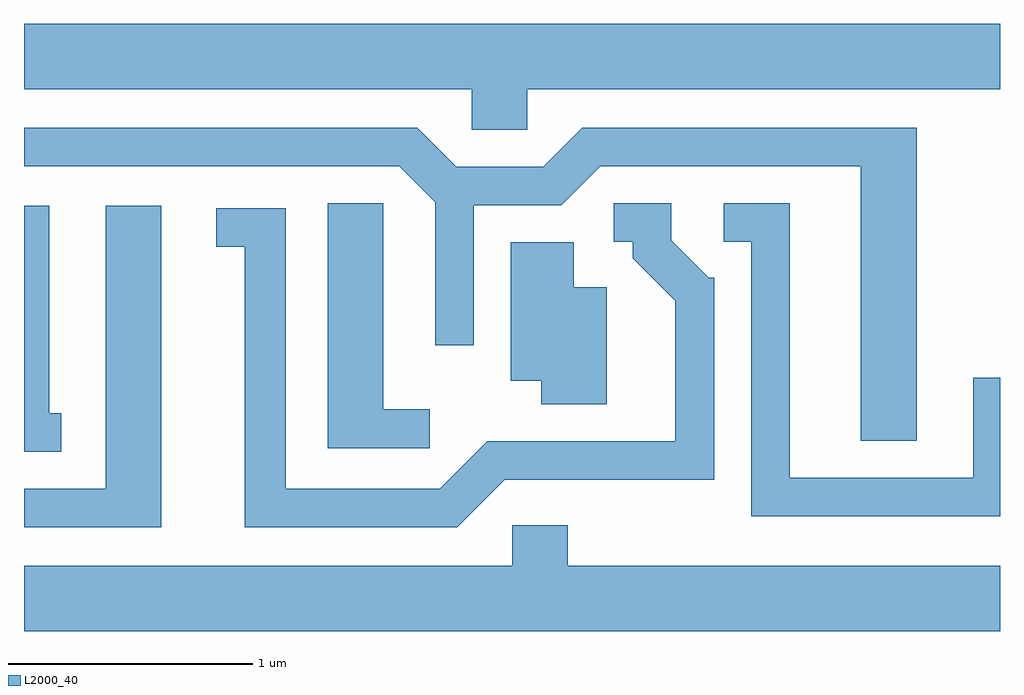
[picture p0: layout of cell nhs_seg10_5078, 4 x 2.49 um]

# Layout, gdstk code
import gdstk
lib = gdstk.Library(unit=1e-6, precision=1e-09)
def P(c, l, *ps):  # polygons
    for p in ps: c.add(gdstk.Polygon(p, *l))
L2000_40 = (2000, 40)

nhs_seg10_5078 = lib.new_cell('nhs_seg10_5078')
P(nhs_seg10_5078, L2000_40, [(337.674,2085.056),(339.611,2085.056),(339.611,2085.324),(335.611,2085.324),(335.611,2085.056),(337.446,2085.056),(337.446,2084.891),(337.674,2084.891)],
  [(339.269,2084.899),(337.899,2084.899),(337.739,2084.739),(337.382,2084.739),(337.222,2084.899),(335.611,2084.899),(335.611,2084.741),(337.149,2084.741),(337.296,2084.594),(337.296,2084.008),(337.454,2084.008),(337.454,2084.581),(337.812,2084.581),(337.972,2084.741),(339.041,2084.741),(339.041,2083.616),(339.269,2083.616)],
  [(339.611,2083.874),(339.501,2083.874),(339.501,2083.464),(338.749,2083.464),(338.749,2084.589),(338.478,2084.589),(338.478,2084.431),(338.591,2084.431),(338.591,2083.306),(339.611,2083.306)],
  [(337.582,2083.456),(338.439,2083.456),(338.439,2084.284),(338.417,2084.284),(338.264,2084.437),(338.264,2084.589),(338.028,2084.589),(338.028,2084.431),(338.106,2084.431),(338.106,2084.364),(338.281,2084.189),(338.281,2083.614),(337.509,2083.614),(337.314,2083.419),(336.684,2083.419),(336.684,2084.569),(336.398,2084.569),(336.398,2084.411),(336.516,2084.411),(336.516,2083.261),(337.387,2083.261)],
  [(337.273,2083.744),(337.084,2083.744),(337.084,2084.589),(336.856,2084.589),(336.856,2083.586),(337.273,2083.586)],
  [(335.763,2083.729),(335.714,2083.729),(335.714,2084.579),(335.611,2084.579),(335.611,2083.571),(335.763,2083.571)],
  [(336.174,2084.579),(335.946,2084.579),(335.946,2083.419),(335.611,2083.419),(335.611,2083.261),(336.174,2083.261)],
  [(337.999,2084.244),(337.864,2084.244),(337.864,2084.429),(337.606,2084.429),(337.606,2083.861),(337.731,2083.861),(337.731,2083.766),(337.999,2083.766)],
  [(339.611,2083.104),(337.839,2083.104),(337.839,2083.269),(337.611,2083.269),(337.611,2083.104),(335.611,2083.104),(335.611,2082.836),(339.611,2082.836)])

lib.write_gds('nhs_seg10_5078.gds')
